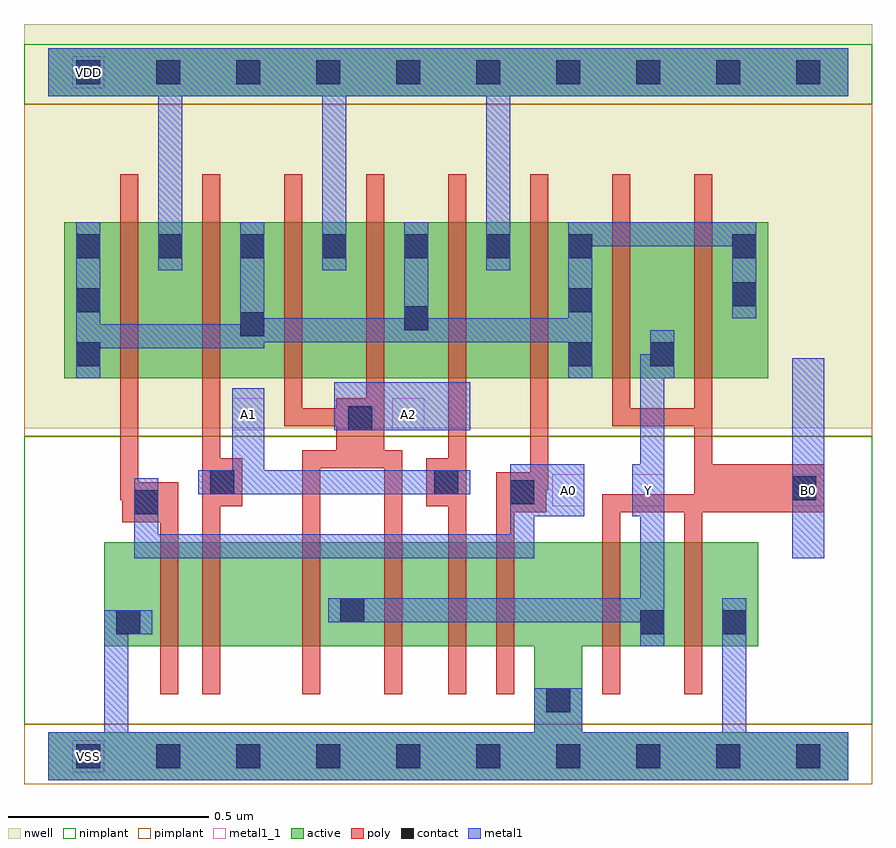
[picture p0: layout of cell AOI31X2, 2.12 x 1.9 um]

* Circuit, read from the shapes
.subckt AOI31X2 A0 A1 A2 B0 VDD VSS Y
M1 n1 A0 VSS VSS nfet w=0.26u l=0.045u
M2 n2 A1 n1 VSS nfet w=0.26u l=0.045u
M3 Y A2 n2 VSS nfet w=0.26u l=0.045u
M4 n3 A2 Y VSS nfet w=0.26u l=0.045u
M5 n4 A1 n3 VSS nfet w=0.26u l=0.045u
M6 VSS A0 n4 VSS nfet w=0.26u l=0.045u
M7 Y B0 VSS VSS nfet w=0.26u l=0.045u m=2
M8 VDD A0 n5 VDD pfet w=0.39u l=0.045u m=2
M9 n5 A1 VDD VDD pfet w=0.39u l=0.045u m=2
M10 VDD A2 n5 VDD pfet w=0.39u l=0.045u m=2
M11 Y B0 n5 VDD pfet w=0.39u l=0.045u m=2
.ends

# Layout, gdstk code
import gdstk
lib = gdstk.Library(unit=1e-6, precision=5e-10)
def R(c, l, rs):  # rectangles x0, y0, x1, y1
    for r in rs: c.add(gdstk.rectangle(r[:2], r[2:], *l))
def A(c, l, x, y, w, h, nx, ny, dx, dy):  # array of equal rectangles
    R(c, l, [(x+i*dx, y+j*dy, x+i*dx+w, y+j*dy+h) for i in range(nx) for j in range(ny)])
def P(c, l, *ps):  # polygons
    for p in ps: c.add(gdstk.Polygon(p, *l))
active = (1, 0)
nwell = (2, 0)
poly = (3, 0)
nimplant = (4, 0)
pimplant = (5, 0)
contact = (6, 0)
metal1 = (7, 0)
metal1_1 = (7, 1)

aoi31x2 = lib.new_cell('AOI31X2')
R(aoi31x2, active, [(0.04,0.945,1.8,1.335), (0,1.65,2,1.77)])
P(aoi31x2, active, [(0.14,0.535),(1.775,0.535),(1.775,0.275),(1.335,0.275),(1.335,0.06),(2,0.06),(2,-0.06),(0,-0.06),(0,0.06),(1.215,0.06),(1.215,0.275),(0.14,0.275)])
R(aoi31x2, nwell, [(-0.06,0.82,2.06,1.83)])
P(aoi31x2, poly, [(0.18,1.455),(0.225,1.455),(0.225,0.685),(0.325,0.685),(0.325,0.155),(0.28,0.155),(0.28,0.585),(0.185,0.585),(0.185,0.64),(0.18,0.64)],
  [(0.385,1.455),(0.43,1.455),(0.43,0.745),(0.485,0.745),(0.485,0.625),(0.43,0.625),(0.43,0.155),(0.385,0.155)],
  [(0.59,1.455),(0.635,1.455),(0.635,0.87),(0.72,0.87),(0.72,0.895),(0.795,0.895),(0.795,1.455),(0.84,1.455),(0.84,0.765),(0.885,0.765),(0.885,0.155),(0.84,0.155),(0.84,0.72),(0.68,0.72),(0.68,0.155),(0.635,0.155),(0.635,0.765),(0.72,0.765),(0.72,0.825),(0.59,0.825)],
  [(1,1.455),(1.045,1.455),(1.045,0.155),(1,0.155),(1,0.625),(0.945,0.625),(0.945,0.745),(1,0.745)],
  [(1.205,1.455),(1.25,1.455),(1.25,0.665),(1.245,0.665),(1.245,0.61),(1.165,0.61),(1.165,0.155),(1.12,0.155),(1.12,0.71),(1.205,0.71)],
  [(1.41,1.455),(1.455,1.455),(1.455,0.87),(1.615,0.87),(1.615,1.455),(1.66,1.455),(1.66,0.73),(1.94,0.73),(1.94,0.61),(1.635,0.61),(1.635,0.155),(1.59,0.155),(1.59,0.61),(1.43,0.61),(1.43,0.155),(1.385,0.155),(1.385,0.655),(1.615,0.655),(1.615,0.825),(1.41,0.825)])
R(aoi31x2, nimplant, [(-0.06,0.08,2.06,0.8), (-0.06,1.63,2.06,1.78)])
R(aoi31x2, pimplant, [(-0.06,-0.07,2.06,0.08), (-0.06,0.8,2.06,1.63)])
A(aoi31x2, contact, 0.07, -0.03, 0.06, 0.06, 10, 2, 0.2, 1.71)
A(aoi31x2, contact, 0.07, 1.245, 0.06, 0.06, 7, 1, 0.205, 0)
R(aoi31x2, contact, [(1.245,0.11,1.305,0.17), (0.17,0.305,0.23,0.365), (1.48,0.305,1.54,0.365), (1.685,0.305,1.745,0.365), (0.73,0.335,0.79,0.395), (0.215,0.605,0.275,0.665), (1.155,0.63,1.215,0.69), (1.86,0.64,1.92,0.7), (0.405,0.655,0.465,0.715), (0.965,0.655,1.025,0.715), (0.75,0.815,0.81,0.875), (0.07,0.975,0.13,1.035), (1.3,0.975,1.36,1.035), (1.505,0.975,1.565,1.035), (0.48,1.05,0.54,1.11), (0.89,1.065,0.95,1.125), (0.07,1.11,0.13,1.17), (1.3,1.11,1.36,1.17), (1.71,1.125,1.77,1.185), (1.71,1.245,1.77,1.305)])
R(aoi31x2, metal1, [(1.86,0.495,1.94,0.995), (0.715,0.815,1.055,0.935)])
P(aoi31x2, metal1, [(0,1.77),(2,1.77),(2,1.65),(1.155,1.65),(1.155,1.215),(1.095,1.215),(1.095,1.65),(0.745,1.65),(0.745,1.215),(0.685,1.215),(0.685,1.65),(0.335,1.65),(0.335,1.215),(0.275,1.215),(0.275,1.65),(0,1.65)],
  [(0.07,1.335),(0.13,1.335),(0.13,1.08),(0.48,1.08),(0.48,1.335),(0.54,1.335),(0.54,1.095),(0.89,1.095),(0.89,1.335),(0.95,1.335),(0.95,1.095),(1.3,1.095),(1.3,1.335),(1.77,1.335),(1.77,1.095),(1.71,1.095),(1.71,1.275),(1.36,1.275),(1.36,0.945),(1.3,0.945),(1.3,1.035),(0.54,1.035),(0.54,1.02),(0.13,1.02),(0.13,0.945),(0.07,0.945)],
  [(1.505,1.065),(1.565,1.065),(1.565,0.945),(1.54,0.945),(1.54,0.275),(1.48,0.275),(1.48,0.335),(0.7,0.335),(0.7,0.395),(1.48,0.395),(1.48,0.6),(1.46,0.6),(1.46,0.73),(1.48,0.73),(1.48,1.005),(1.505,1.005)],
  [(0.46,0.92),(0.54,0.92),(0.54,0.715),(1.055,0.715),(1.055,0.655),(0.375,0.655),(0.375,0.715),(0.46,0.715)],
  [(0.215,0.695),(0.275,0.695),(0.275,0.555),(1.155,0.555),(1.155,0.73),(1.34,0.73),(1.34,0.6),(1.215,0.6),(1.215,0.495),(0.215,0.495)],
  [(0.14,0.365),(0.26,0.365),(0.26,0.305),(0.2,0.305),(0.2,0.06),(1.215,0.06),(1.215,0.17),(1.335,0.17),(1.335,0.06),(1.685,0.06),(1.685,0.395),(1.745,0.395),(1.745,0.06),(2,0.06),(2,-0.06),(0,-0.06),(0,0.06),(0.14,0.06)])
R(aoi31x2, metal1_1, [(0.06,-0.04,0.14,0.04), (1.26,0.625,1.34,0.705), (1.46,0.625,1.54,0.705), (1.86,0.625,1.94,0.705), (0.46,0.815,0.54,0.895), (0.86,0.815,0.94,0.895), (0.06,1.67,0.14,1.75)])
aoi31x2.add(gdstk.Label('Y', (1.5,0.665), layer=7, texttype=1))
aoi31x2.add(gdstk.Label('A2', (0.9,0.855), layer=7, texttype=1))
aoi31x2.add(gdstk.Label('A1', (0.5,0.855), layer=7, texttype=1))
aoi31x2.add(gdstk.Label('A0', (1.3,0.665), layer=7, texttype=1))
aoi31x2.add(gdstk.Label('B0', (1.9,0.665), layer=7, texttype=1))
aoi31x2.add(gdstk.Label('VDD', (0.1,1.71), layer=7, texttype=1))
aoi31x2.add(gdstk.Label('VSS', (0.1,0), layer=7, texttype=1))
aoi31x2.add(gdstk.Label('AOI31X2', (0,0), layer=63, texttype=0))

lib.write_gds('AOI31X2.gds')
